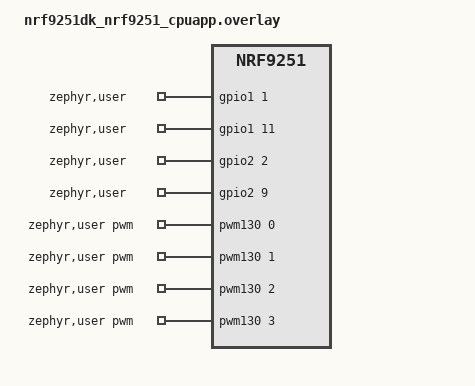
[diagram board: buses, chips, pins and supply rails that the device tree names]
/*
 * Copyright (c) 2026 Nordic Semiconductor ASA
 * SPDX-License-Identifier: LicenseRef-Nordic-5-Clause
 *
 * Test requires wire connection between:
 *  - PWM130 OUT[0] at P1.00 <-> GPIO input at P1.01
 *  - PWM130 OUT[1] at P1.04 <-> GPIO input at P1.11
 *  - PWM130 OUT[2] at P2.01 <-> GPIO input at P2.02
 *  - PWM130 OUT[3] at P2.03 <-> GPIO input at P2.09
 */

/ {
	zephyr,user {
		pwms = <&pwm130 0 160000 PWM_POLARITY_NORMAL>,
		       <&pwm130 1 160000 PWM_POLARITY_NORMAL>,
		       <&pwm130 2 160000 PWM_POLARITY_NORMAL>,
		       <&pwm130 3 160000 PWM_POLARITY_NORMAL>;
		gpios = <&gpio1 1 GPIO_ACTIVE_HIGH>,
			<&gpio1 11 GPIO_ACTIVE_HIGH>,
			<&gpio2 2 GPIO_ACTIVE_HIGH>,
			<&gpio2 9 GPIO_ACTIVE_HIGH>;
	};
};

&pinctrl {
	pwm130_default: pwm130_default {
		group1 {
			psels = <NRF_PSEL(PWM_OUT0, 1, 0)>,
				<NRF_PSEL(PWM_OUT1, 1, 4)>,
				<NRF_PSEL(PWM_OUT2, 2, 1)>,
				<NRF_PSEL(PWM_OUT3, 2, 3)>;
		};
	};

	pwm130_sleep: pwm130_sleep {
		group1 {
			psels = <NRF_PSEL(PWM_OUT0, 1, 0)>,
				<NRF_PSEL(PWM_OUT1, 1, 4)>,
				<NRF_PSEL(PWM_OUT2, 2, 1)>,
				<NRF_PSEL(PWM_OUT3, 2, 3)>;
			low-power-enable;
		};
	};
};

&gpio1 {
	status = "okay";
};

&gpio2 {
	status = "okay";
};
